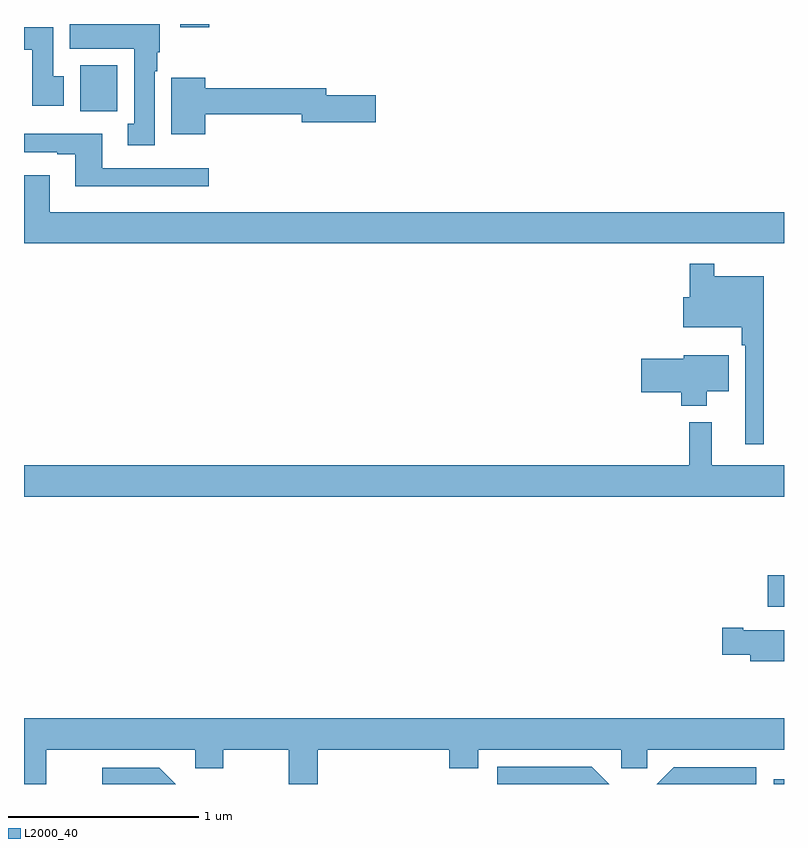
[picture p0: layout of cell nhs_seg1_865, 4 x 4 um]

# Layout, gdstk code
import gdstk
lib = gdstk.Library(unit=1e-6, precision=1e-09)
def R(c, l, rs):  # rectangles x0, y0, x1, y1
    for r in rs: c.add(gdstk.rectangle(r[:2], r[2:], *l))
def P(c, l, *ps):  # polygons
    for p in ps: c.add(gdstk.Polygon(p, *l))
L2000_40 = (2000, 40)

nhs_seg1_865 = lib.new_cell('nhs_seg1_865')
R(nhs_seg1_865, L2000_40, [(160.945,570.199,161,570.223), (160.914,571.133,161,571.299), (157.295,573.74,157.492,573.982), (157.823,574.182,157.976,574.199)])
P(nhs_seg1_865, L2000_40, [(157.687,573.95),(157.702,573.95),(157.702,574.05),(157.714,574.05),(157.714,574.199),(157.241,574.199),(157.241,574.07),(157.58,574.07),(157.58,573.674),(157.547,573.674),(157.547,573.561),(157.687,573.561)],
  [(157.21,573.924),(157.153,573.924),(157.153,574.183),(157,574.183),(157,574.064),(157.043,574.064),(157.043,573.768),(157.21,573.768)],
  [(157.954,573.724),(158.462,573.724),(158.462,573.682),(158.851,573.682),(158.851,573.824),(158.59,573.824),(158.59,573.86),(157.954,573.86),(157.954,573.916),(157.775,573.916),(157.775,573.62),(157.954,573.62)],
  [(157.972,573.441),(157.411,573.441),(157.411,573.622),(157,573.622),(157,573.525),(157.175,573.525),(157.175,573.513),(157.271,573.513),(157.271,573.344),(157.972,573.344)],
  [(161,573.208),(157.135,573.208),(157.135,573.403),(157,573.403),(157,573.044),(161,573.044)],
  [(160.894,572.872),(160.633,572.872),(160.633,572.938),(160.504,572.938),(160.504,572.761),(160.47,572.761),(160.47,572.603),(160.777,572.603),(160.777,572.507),(160.797,572.507),(160.797,571.986),(160.894,571.986)],
  [(160.594,572.267),(160.708,572.267),(160.708,572.455),(160.472,572.455),(160.472,572.438),(160.248,572.438),(160.248,572.26),(160.46,572.26),(160.46,572.189),(160.594,572.189)],
  [(161,571.876),(160.619,571.876),(160.619,572.104),(160.501,572.104),(160.501,571.876),(157,571.876),(157,571.712),(161,571.712)],
  [(161,571.009),(160.786,571.009),(160.786,571.022),(160.674,571.022),(160.674,570.88),(160.823,570.88),(160.823,570.846),(161,570.846)],
  [(157.117,570.38),(157.901,570.38),(157.901,570.281),(158.049,570.281),(158.049,570.38),(158.393,570.38),(158.393,570.199),(158.546,570.199),(158.546,570.38),(159.239,570.38),(159.239,570.281),(159.391,570.281),(159.391,570.38),(160.143,570.38),(160.143,570.282),(160.281,570.282),(160.281,570.38),(161,570.38),(161,570.544),(157,570.544),(157,570.199),(157.117,570.199)],
  [(159.989,570.289),(159.492,570.289),(159.492,570.199),(160.079,570.199)],
  [(160.854,570.288),(160.419,570.288),(160.33,570.199),(160.854,570.199)],
  [(157.713,570.285),(157.413,570.285),(157.413,570.199),(157.799,570.199)])

lib.write_gds('nhs_seg1_865.gds')
